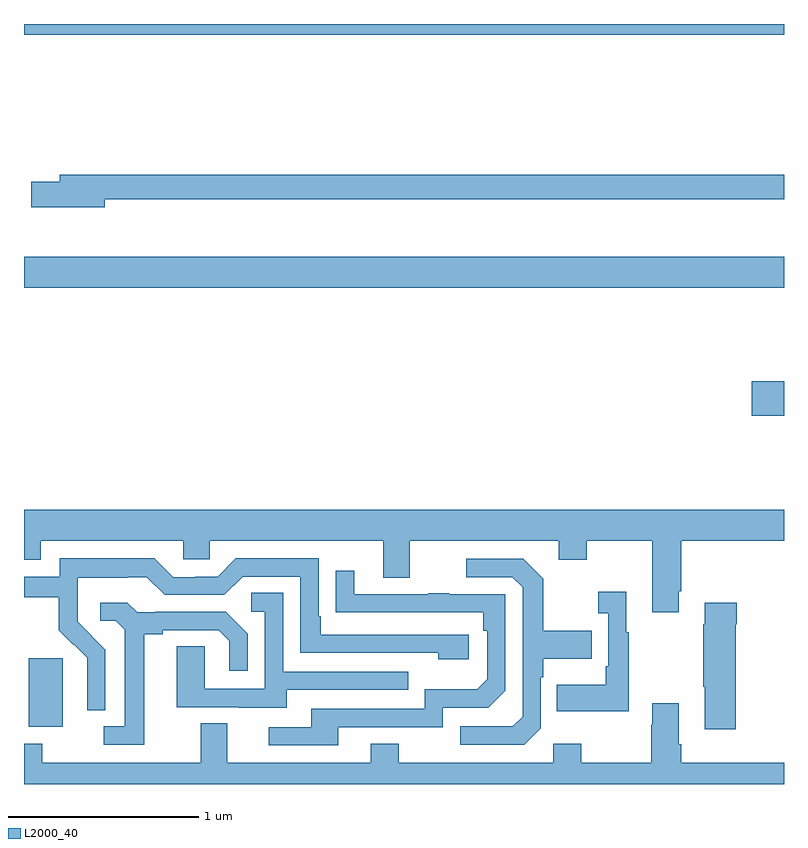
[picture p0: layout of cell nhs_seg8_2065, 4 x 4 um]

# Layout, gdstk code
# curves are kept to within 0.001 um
import gdstk
lib = gdstk.Library(unit=1e-6, precision=1e-09)
def R(c, l, rs):  # rectangles x0, y0, x1, y1
    for r in rs: c.add(gdstk.rectangle(r[:2], r[2:], *l))
def P(c, l, *ps):  # polygons
    for p in ps: c.add(gdstk.Polygon(p, *l))
L2000_40 = (2000, 40)

nhs_seg8_2065 = lib.new_cell('nhs_seg8_2065')
R(nhs_seg8_2065, L2000_40, [(241.025,1102.202,241.204,1102.563), (244.83,1103.837,245,1104.02), (241,1104.512,245,1104.676), (241,1105.844,245,1105.9)])
P(nhs_seg8_2065, L2000_40, [(241.426,1104.978),(245,1104.978),(245,1105.106),(241.187,1105.106),(241.187,1105.07),(241.038,1105.07),(241.038,1104.935),(241.426,1104.935)],
  [(244.447,1102.915),(244.46,1102.915),(244.46,1103.18),(245,1103.18),(245,1103.344),(241,1103.344),(241,1103.081),(241.087,1103.081),(241.087,1103.18),(241.839,1103.18),(241.839,1103.082),(241.977,1103.082),(241.977,1103.18),(242.891,1103.18),(242.891,1102.986),(243.031,1102.986),(243.031,1103.18),(243.815,1103.18),(243.815,1103.081),(243.963,1103.081),(243.963,1103.18),(244.307,1103.18),(244.307,1102.803),(244.447,1102.803)],
  [(241.428,1102.606),(241.282,1102.754),(241.282,1102.851),(241.284,1102.851),(241.284,1102.985),(241.547,1102.985),(241.547,1102.989),(241.647,1102.989),(241.74,1102.896),(242.055,1102.896),(242.151,1102.992),(242.454,1102.992),(242.454,1102.59),(243.179,1102.59),(243.179,1102.556),(243.34,1102.556),(243.34,1102.686),(242.563,1102.686),(242.563,1102.783),(242.55,1102.783),(242.55,1103.088),(242.115,1103.088),(242.019,1102.992),(241.901,1102.992),(241.901,1102.989),(241.785,1102.989),(241.685,1103.089),(241.188,1103.089),(241.188,1102.992),(241,1102.992),(241,1102.884),(241.183,1102.884),(241.183,1102.709),(241.26,1102.632),(241.263,1102.635),(241.334,1102.565),(241.334,1102.442),(241.332,1102.442),(241.332,1102.288),(241.428,1102.288)],
  [(243.72,1102.194),(243.72,1102.463),(243.733,1102.463),(243.733,1102.559),(243.989,1102.559),(243.989,1102.707),(243.733,1102.707),(243.733,1102.979),(243.627,1103.085),(243.327,1103.085),(243.327,1102.989),(243.57,1102.989),(243.624,1102.935),(243.624,1102.254),(243.573,1102.203),(243.297,1102.203),(243.297,1102.107),(243.633,1102.107)],
  [(242.653,1102.2),(243.204,1102.2),(243.204,1102.302),(243.444,1102.302),(243.534,1102.392),(243.534,1102.899),(243.239,1102.899),(243.239,1102.904),(243.127,1102.904),(243.127,1102.899),(242.737,1102.899),(242.737,1103.023),(242.641,1103.023),(242.641,1102.804),(243.418,1102.803),(243.418,1102.706),(243.438,1102.706),(243.438,1102.452),(243.385,1102.399),(243.108,1102.399),(243.108,1102.296),(242.513,1102.296),(242.513,1102.2),(242.289,1102.2),(242.289,1102.104),(242.653,1102.104)],
  [(244.183,1102.699),(244.171,1102.699),(244.171,1102.912),(244.023,1102.912),(244.023,1102.799),(244.074,1102.799),(244.074,1102.519),(244.062,1102.519),(244.062,1102.423),(243.805,1102.423),(243.805,1102.283),(244.183,1102.283)],
  [(242.383,1102.395),(243.023,1102.395),(243.023,1102.491),(242.364,1102.491),(242.364,1102.907),(242.196,1102.907),(242.196,1102.806),(242.268,1102.806),(242.268,1102.401),(241.95,1102.401),(241.95,1102.625),(241.805,1102.625),(241.805,1102.305),(242.129,1102.305),(242.129,1102.301),(242.383,1102.301)],
  [(241.633,1102.688),(241.729,1102.688),(241.729,1102.71),(242.024,1102.71),(242.081,1102.653),(242.081,1102.497),(242.178,1102.497),(242.178,1102.69),(242.062,1102.806),(241.69,1102.806),(241.69,1102.803),(241.596,1102.803),(241.544,1102.855),(241.401,1102.855),(241.401,1102.758),(241.482,1102.758),(241.529,1102.711),(241.529,1102.203),(241.419,1102.203),(241.419,1102.107),(241.633,1102.107)],
  [(244.746,1102.742),(244.751,1102.742),(244.751,1102.855),(244.583,1102.855),(244.583,1102.742),(244.576,1102.742),(244.576,1102.411),(244.583,1102.411),(244.583,1102.188),(244.746,1102.188)],
  [(245,1102.012),(244.46,1102.012),(244.46,1102.108),(244.447,1102.108),(244.447,1102.324),(244.307,1102.324),(244.307,1102.211),(244.3,1102.211),(244.3,1102.012),(243.933,1102.012),(243.933,1102.111),(243.786,1102.111),(243.786,1102.012),(242.973,1102.012),(242.973,1102.111),(242.825,1102.111),(242.825,1102.012),(242.071,1102.012),(242.071,1102.22),(241.931,1102.22),(241.931,1102.012),(241.095,1102.012),(241.095,1102.111),(241,1102.111),(241,1101.9),(245,1101.9)])

lib.write_gds('nhs_seg8_2065.gds')
